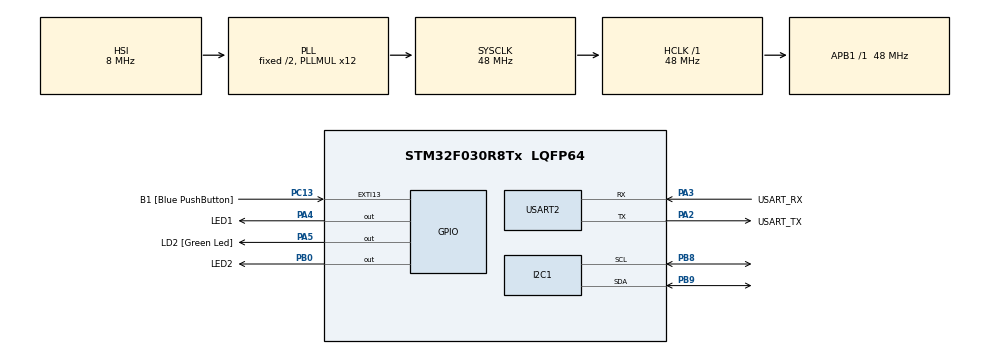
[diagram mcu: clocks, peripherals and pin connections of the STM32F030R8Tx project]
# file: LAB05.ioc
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Dma.Request0=USART2_RX
Dma.USART2_RX.0.Direction=DMA_PERIPH_TO_MEMORY
Dma.USART2_RX.0.Instance=DMA1_Channel5
Dma.USART2_RX.0.MemDataAlignment=DMA_MDATAALIGN_BYTE
Dma.USART2_RX.0.MemInc=DMA_MINC_ENABLE
Dma.USART2_RX.0.Mode=DMA_CIRCULAR
Dma.USART2_RX.0.PeriphDataAlignment=DMA_PDATAALIGN_BYTE
Dma.USART2_RX.0.PeriphInc=DMA_PINC_DISABLE
Dma.USART2_RX.0.Priority=DMA_PRIORITY_LOW
I2C1.Timing=0x00201D2B
Mcu.Family=STM32F0
Mcu.Name=STM32F030R8Tx
Mcu.Package=LQFP64
NVIC.DMA1_Channel4_5_IRQn=true\:0\:0\:false\:false\:true\:false\:true\:true
PA13.GPIO_Label=TMS
PA13.Mode=Serial_Wire
PA13.Signal=SYS_SWDIO
PA14.GPIO_Label=TCK
PA14.Mode=Serial_Wire
PA14.Signal=SYS_SWCLK
PA2.GPIO_Label=USART_TX
PA2.GPIO_Mode=GPIO_MODE_AF_PP
PA2.GPIO_PuPd=GPIO_NOPULL
PA2.GPIO_Speed=GPIO_SPEED_FREQ_LOW
PA2.Mode=Asynchronous
PA2.Signal=USART2_TX
PA3.GPIO_Label=USART_RX
PA3.GPIO_Mode=GPIO_MODE_AF_PP
PA3.GPIO_PuPd=GPIO_NOPULL
PA3.GPIO_Speed=GPIO_SPEED_FREQ_LOW
PA3.Mode=Asynchronous
PA3.Signal=USART2_RX
PA4.GPIO_Label=LED1
PA4.Signal=GPIO_Output
PA5.GPIO_Label=LD2 [Green Led]
PA5.GPIO_Mode=GPIO_MODE_OUTPUT_PP
PA5.GPIO_PuPd=GPIO_NOPULL
PA5.GPIO_Speed=GPIO_SPEED_FREQ_LOW
PA5.Signal=GPIO_Output
PB0.GPIO_Label=LED2
PB0.Signal=GPIO_Output
PB8.Mode=I2C
PB8.Signal=I2C1_SCL
PB9.Mode=I2C
PB9.Signal=I2C1_SDA
PC13.GPIO_Label=B1 [Blue PushButton]
PC13.GPIO_ModeDefaultEXTI=GPIO_MODE_IT_FALLING
PC13.Signal=GPXTI13
PC14-OSC32_IN.Mode=LSE-External-Oscillator
PC14-OSC32_IN.Signal=RCC_OSC32_IN
PC15-OSC32_OUT.Mode=LSE-External-Oscillator
PC15-OSC32_OUT.Signal=RCC_OSC32_OUT
PF0-OSC_IN.Mode=HSE-External-Clock-Source
PF0-OSC_IN.Signal=RCC_OSC_IN
PF1-OSC_OUT.Signal=RCC_OSC_OUT
ProjectManager.HeapSize=0x200
ProjectManager.StackSize=0x400
ProjectManager.TargetToolchain=STM32CubeIDE
RCC.AHBFreq_Value=48000000
RCC.APB1Freq_Value=48000000
RCC.APB1TimFreq_Value=48000000
RCC.HCLKFreq_Value=48000000
RCC.PLLMUL=RCC_PLL_MUL12
RCC.SYSCLKFreq_VALUE=48000000
RCC.SYSCLKSource=RCC_SYSCLKSOURCE_PLLCLK
USART2.VirtualMode-Asynchronous=VM_ASYNC
board=NUCLEO-F030R8

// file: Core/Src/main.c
/* USER CODE BEGIN Header */
/**
  ******************************************************************************
  * @file           : main.c
  * @brief          : Main program body
  ******************************************************************************
  * @attention
  *
  * Copyright (c) 2025 STMicroelectronics.
  * All rights reserved.
  *
  * This software is licensed under terms that can be found in the LICENSE file
  * in the root directory of this software component.
  * If no LICENSE file comes with this software, it is provided AS-IS.
  *
  ******************************************************************************
  */
/* USER CODE END Header */
#include "main.h"

/* USER CODE BEGIN Includes */
#include <stdio.h>
#include <string.h>
#include <stdlib.h>
/* USER CODE END Includes */

/* USER CODE BEGIN PD */

#define RX_BUFFER_LEN 64
#define uart_rx_write_ptr (RX_BUFFER_LEN - hdma_usart2_rx.Instance->CNDTR)
#define CMD_BUFFER_LEN 256

#define EEPROM_ADDR 0xA0

/* USER CODE END PD */

I2C_HandleTypeDef hi2c1;

UART_HandleTypeDef huart2;
DMA_HandleTypeDef hdma_usart2_rx;

/* USER CODE BEGIN PV */
static uint8_t uart_rx_buf[RX_BUFFER_LEN];
static volatile uint16_t uart_rx_read_ptr = 0;
/* USER CODE END PV */

void SystemClock_Config(void);
static void MX_GPIO_Init(void);
static void MX_DMA_Init(void);
static void MX_USART2_UART_Init(void);
static void MX_I2C1_Init(void);
/* USER CODE BEGIN PFP */
static void uart_byte_available(uint8_t c);
static void uart_process_command(char *cmd);

/* USER CODE END PFP */

int main(void)
{

  /* MCU Configuration--------------------------------------------------------*/

  /* Reset of all peripherals, Initializes the Flash interface and the Systick. */
  HAL_Init();

  /* Configure the system clock */
  SystemClock_Config();

  /* Initialize all configured peripherals */
  MX_GPIO_Init();
  MX_DMA_Init();
  MX_USART2_UART_Init();
  MX_I2C1_Init();
  /* USER CODE BEGIN 2 */

  HAL_UART_Receive_DMA(&huart2, uart_rx_buf, RX_BUFFER_LEN);

  /* USER CODE END 2 */

  /* Infinite loop */
  while (1)
  {

    /* USER CODE BEGIN 3 */
	  while (uart_rx_read_ptr != uart_rx_write_ptr) {
		  uint8_t b = uart_rx_buf[uart_rx_read_ptr];
		  // increase read pointer
		  if (++uart_rx_read_ptr >= RX_BUFFER_LEN) uart_rx_read_ptr = 0;
		  // process every received byte with the RX state machine
		  uart_byte_available(b);
	  }
  }
  /* USER CODE END 3 */
}

void SystemClock_Config(void)
{
  RCC_OscInitTypeDef RCC_OscInitStruct = {0};
  RCC_ClkInitTypeDef RCC_ClkInitStruct = {0};
  RCC_PeriphCLKInitTypeDef PeriphClkInit = {0};

  /** Initializes the RCC Oscillators according to the specified parameters
  * in the RCC_OscInitTypeDef structure.
  */
  RCC_OscInitStruct.OscillatorType = RCC_OSCILLATORTYPE_HSI;
  RCC_OscInitStruct.HSIState = RCC_HSI_ON;
  RCC_OscInitStruct.HSICalibrationValue = RCC_HSICALIBRATION_DEFAULT;
  RCC_OscInitStruct.PLL.PLLState = RCC_PLL_ON;
  RCC_OscInitStruct.PLL.PLLSource = RCC_PLLSOURCE_HSI;
  RCC_OscInitStruct.PLL.PLLMUL = RCC_PLL_MUL12;
  RCC_OscInitStruct.PLL.PREDIV = RCC_PREDIV_DIV1;
  if (HAL_RCC_OscConfig(&RCC_OscInitStruct) != HAL_OK)
  {
    Error_Handler();
  }

  /** Initializes the CPU, AHB and APB buses clocks
  */
  RCC_ClkInitStruct.ClockType = RCC_CLOCKTYPE_HCLK|RCC_CLOCKTYPE_SYSCLK
                              |RCC_CLOCKTYPE_PCLK1;
  RCC_ClkInitStruct.SYSCLKSource = RCC_SYSCLKSOURCE_PLLCLK;
  RCC_ClkInitStruct.AHBCLKDivider = RCC_SYSCLK_DIV1;
  RCC_ClkInitStruct.APB1CLKDivider = RCC_HCLK_DIV1;

  if (HAL_RCC_ClockConfig(&RCC_ClkInitStruct, FLASH_LATENCY_1) != HAL_OK)
  {
    Error_Handler();
  }
  PeriphClkInit.PeriphClockSelection = RCC_PERIPHCLK_I2C1;
  PeriphClkInit.I2c1ClockSelection = RCC_I2C1CLKSOURCE_HSI;
  if (HAL_RCCEx_PeriphCLKConfig(&PeriphClkInit) != HAL_OK)
  {
    Error_Handler();
  }
}

static void MX_I2C1_Init(void)
{

  hi2c1.Instance = I2C1;
  hi2c1.Init.Timing = 0x00201D2B;
  hi2c1.Init.OwnAddress1 = 0;
  hi2c1.Init.AddressingMode = I2C_ADDRESSINGMODE_7BIT;
  hi2c1.Init.DualAddressMode = I2C_DUALADDRESS_DISABLE;
  hi2c1.Init.OwnAddress2 = 0;
  hi2c1.Init.OwnAddress2Masks = I2C_OA2_NOMASK;
  hi2c1.Init.GeneralCallMode = I2C_GENERALCALL_DISABLE;
  hi2c1.Init.NoStretchMode = I2C_NOSTRETCH_DISABLE;
  if (HAL_I2C_Init(&hi2c1) != HAL_OK)
  {
    Error_Handler();
  }

  /** Configure Analogue filter
  */
  if (HAL_I2CEx_ConfigAnalogFilter(&hi2c1, I2C_ANALOGFILTER_ENABLE) != HAL_OK)
  {
    Error_Handler();
  }

  /** Configure Digital filter
  */
  if (HAL_I2CEx_ConfigDigitalFilter(&hi2c1, 0) != HAL_OK)
  {
    Error_Handler();
  }

}

static void MX_USART2_UART_Init(void)
{

  huart2.Instance = USART2;
  huart2.Init.BaudRate = 38400;
  huart2.Init.WordLength = UART_WORDLENGTH_8B;
  huart2.Init.StopBits = UART_STOPBITS_1;
  huart2.Init.Parity = UART_PARITY_NONE;
  huart2.Init.Mode = UART_MODE_TX_RX;
  huart2.Init.HwFlowCtl = UART_HWCONTROL_NONE;
  huart2.Init.OverSampling = UART_OVERSAMPLING_16;
  huart2.Init.OneBitSampling = UART_ONE_BIT_SAMPLE_DISABLE;
  huart2.AdvancedInit.AdvFeatureInit = UART_ADVFEATURE_NO_INIT;
  if (HAL_UART_Init(&huart2) != HAL_OK)
  {
    Error_Handler();
  }

}

static void MX_DMA_Init(void)
{

  /* DMA controller clock enable */
  __HAL_RCC_DMA1_CLK_ENABLE();

  /* DMA interrupt init */
  /* DMA1_Channel4_5_IRQn interrupt configuration */
  HAL_NVIC_SetPriority(DMA1_Channel4_5_IRQn, 0, 0);
  HAL_NVIC_EnableIRQ(DMA1_Channel4_5_IRQn);

}

static void MX_GPIO_Init(void)
{
  GPIO_InitTypeDef GPIO_InitStruct = {0};

  /* GPIO Ports Clock Enable */
  __HAL_RCC_GPIOC_CLK_ENABLE();
  __HAL_RCC_GPIOF_CLK_ENABLE();
  __HAL_RCC_GPIOA_CLK_ENABLE();
  __HAL_RCC_GPIOB_CLK_ENABLE();

  /*Configure GPIO pin Output Level */
  HAL_GPIO_WritePin(GPIOA, LED1_Pin|LD2_Pin, GPIO_PIN_RESET);

  /*Configure GPIO pin Output Level */
  HAL_GPIO_WritePin(LED2_GPIO_Port, LED2_Pin, GPIO_PIN_RESET);

  /*Configure GPIO pin : B1_Pin */
  GPIO_InitStruct.Pin = B1_Pin;
  GPIO_InitStruct.Mode = GPIO_MODE_IT_FALLING;
  GPIO_InitStruct.Pull = GPIO_NOPULL;
  HAL_GPIO_Init(B1_GPIO_Port, &GPIO_InitStruct);

  /*Configure GPIO pins : LED1_Pin LD2_Pin */
  GPIO_InitStruct.Pin = LED1_Pin|LD2_Pin;
  GPIO_InitStruct.Mode = GPIO_MODE_OUTPUT_PP;
  GPIO_InitStruct.Pull = GPIO_NOPULL;
  GPIO_InitStruct.Speed = GPIO_SPEED_FREQ_LOW;
  HAL_GPIO_Init(GPIOA, &GPIO_InitStruct);

  /*Configure GPIO pin : LED2_Pin */
  GPIO_InitStruct.Pin = LED2_Pin;
  GPIO_InitStruct.Mode = GPIO_MODE_OUTPUT_PP;
  GPIO_InitStruct.Pull = GPIO_NOPULL;
  GPIO_InitStruct.Speed = GPIO_SPEED_FREQ_LOW;
  HAL_GPIO_Init(LED2_GPIO_Port, &GPIO_InitStruct);

}

/* USER CODE BEGIN 4 */
static void uart_byte_available(uint8_t c)
{
    static uint16_t cnt;
    static char data[CMD_BUFFER_LEN];

    if (cnt < CMD_BUFFER_LEN && c >= 32 && c <= 126) data[cnt++] = c;
    if ((c == '\n' || c == '\r') && cnt > 0) {
        data[cnt] = '\0';
        uart_process_command(data);
        cnt = 0;
    }
}

static void uart_process_command(char *cmd) {
	//printf("Received: '%s'\r\n", cmd);

	char *token;
	token = strtok(cmd, " ");

	if (strcasecmp(token, "HELLO") == 0) {
		printf("Communication OK\r\n");
	}
	else if (strcasecmp(token, "LED1") == 0) {
		token = strtok(NULL, " ");

		if (strcasecmp(token, "ON") == 0) {
			HAL_GPIO_WritePin(LED1_GPIO_Port, LED1_Pin, 1);
		} else if (strcasecmp(token, "OFF") == 0) {
			HAL_GPIO_WritePin(LED1_GPIO_Port, LED1_Pin, 0);
		}
		printf("OK\r\n");
	}
	else if (strcasecmp(token, "LED2") == 0) {
		token = strtok(NULL, " ");

		if (strcasecmp(token, "ON") == 0) {
			HAL_GPIO_WritePin(LED2_GPIO_Port, LED2_Pin, 1);
		} else if (strcasecmp(token, "OFF") == 0) {
			HAL_GPIO_WritePin(LED2_GPIO_Port, LED2_Pin, 0);
		}
		printf("OK\r\n");
	}
	else if (strcasecmp(token, "STATUS") == 0) {
		printf("LED1: %s\r\n", (HAL_GPIO_ReadPin(LED1_GPIO_Port, LED1_Pin)) ? "ON" : "OFF");
		printf("LED2: %s\r\n", (HAL_GPIO_ReadPin(LED2_GPIO_Port, LED2_Pin)) ? "ON" : "OFF");
	}
	else if (strcasecmp(token, "READ") == 0) {
		uint16_t addr = atoi(strtok(NULL, " "));
		uint8_t value;

		HAL_I2C_Mem_Read(&hi2c1, EEPROM_ADDR, addr, I2C_MEMADD_SIZE_16BIT, &value, 1, 1000);
		/* Check if the EEPROM is ready for a new operation */
		while (HAL_I2C_IsDeviceReady(&hi2c1, EEPROM_ADDR, 300, 1000) != HAL_OK) {}

		printf("Address 0x%04X = 0x%02X\r\n", atoi(token), value);
	}
	else if (strcasecmp(token, "WRITE") == 0) {
		uint16_t addr = atoi(strtok(NULL, " "));
		uint8_t value = atoi(strtok(NULL, " "));

		HAL_I2C_Mem_Write(&hi2c1, EEPROM_ADDR, addr, I2C_MEMADD_SIZE_16BIT, &value, 1, 1000);
		/* Check if the EEPROM is ready for a new operation */
		while (HAL_I2C_IsDeviceReady(&hi2c1, EEPROM_ADDR, 300, 1000) != HAL_OK) {}

		printf("OK\r\n");
	}
	else if (strcasecmp(token, "DUMP") == 0) {
		uint16_t addr = 0;
		uint8_t value[16];

		HAL_I2C_Mem_Read(&hi2c1, EEPROM_ADDR, addr, I2C_MEMADD_SIZE_16BIT, value, sizeof(value), 1000);
		/* Check if the EEPROM is ready for a new operation */
		while (HAL_I2C_IsDeviceReady(&hi2c1, EEPROM_ADDR, 300, 1000) != HAL_OK) {}

		for (uint32_t i = 0; i < sizeof(value); i++) {
			printf("%02X ", value[i]);

			if (i % 8 == 7) printf("\r\n");
		}

	}
}

int _write(int file, char const *buf, int n)
{
    /* stdout redirection to UART2 */
    HAL_UART_Transmit(&huart2, (uint8_t*)(buf), n, HAL_MAX_DELAY);
    return n;
}

/* USER CODE END 4 */

void Error_Handler(void)
{
  __disable_irq();
  while (1)
  {
  }
}
